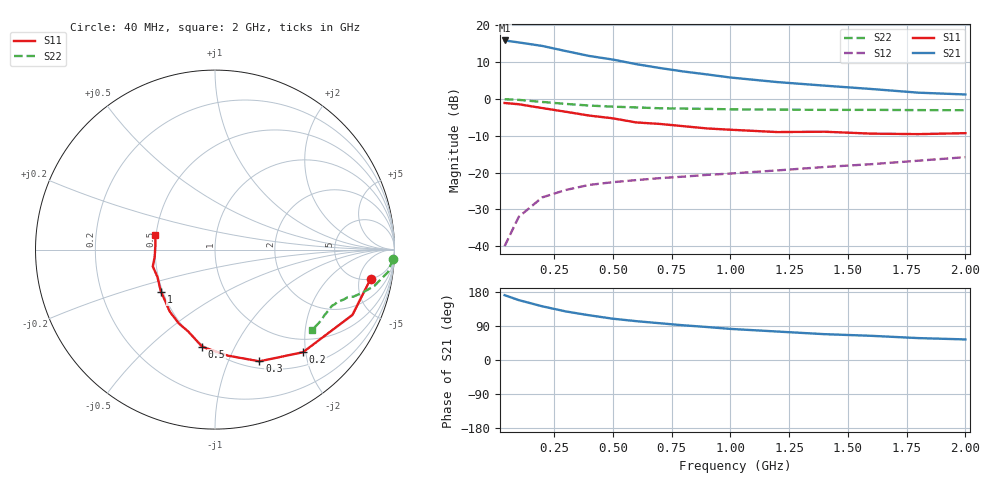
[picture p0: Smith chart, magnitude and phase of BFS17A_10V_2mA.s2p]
! Filename:  BFS17AF.S2P  Version:  2.0
! Philips part #: BFS17A  Date: May 1990
! Bias condition: Vce=10V, Ic=2mA
#  MHz  S  MA  R  50
! Freq  S11  S21  S12  S22  !GUM [dB]
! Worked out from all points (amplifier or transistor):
!   16 points, 40 MHz to 2 GHz, reference 50 ohm
!   highest |S21| = 15.9 dB at 40 MHz (marker M1)
!   |S21| within 3 dB of that: start of sweep to 309.3 MHz
!   unconditionally stable (mu >= 1): 1.006 GHz to end of sweep
!   at 200 MHz: K = 0.28, MSG = 20.6 dB, |S12| = -26.7 dB
!   at 800 MHz: K = 0.85, MSG = 14.3 dB, |S12| = -21.1 dB
!   at 2 GHz: K = 1.05, MAG = 7.2 dB, |S12| = -15.8 dB
!   S11 on the Smith chart (normalised r, x): 40 MHz: 5.04, -7.37; 200 MHz: 0.74, -1.95; 300 MHz: 0.58, -1.31; 500 MHz: 0.49, -0.75; 1 GHz: 0.49, -0.27; 2 GHz: 0.49, +0.09
40  0.882 -10.6  6.238 171.1  0.01 81.4  0.993 -3.0
100  0.848 -25.4  5.867 158.1  0.025 73.6  0.972 -7.4
200  0.753 -49.4  5.256 141.7  0.046 65.8  0.911 -12.8
300  0.67 -68.3  4.48 128.2  0.058 58.7  0.857 -16.2
400  0.595 -83.1  3.84 118.0  0.068 54.4  0.814 -18.8
500  0.546 -97.5  3.433 109.0  0.074 52.9  0.786 -19.7
600  0.48 -108.1  2.972 102.5  0.079 53.1  0.768 -21.3
700  0.458 -116.2  2.636 97.0  0.084 54.2  0.748 -22.7
800  0.427 -126.4  2.364 91.6  0.088 54.6  0.74 -23.4
900  0.398 -134.3  2.157 87.1  0.093 56.3  0.734 -24.5
1000  0.382 -142.1  1.958 82.1  0.097 58.2  0.723 -25.6
1200  0.355 -154.6  1.696 75.1  0.107 62.1  0.717 -28.2
1400  0.359 -164.9  1.518 68.2  0.119 65.0  0.711 -31.1
1600  0.338 -173.5  1.366 63.8  0.13 68.9  0.711 -33.7
1800  0.333 175.5  1.218 57.8  0.145 71.9  0.706 -36.6
2000  0.343 166.2  1.151 54.3  0.162 74.5  0.703 -39.8
